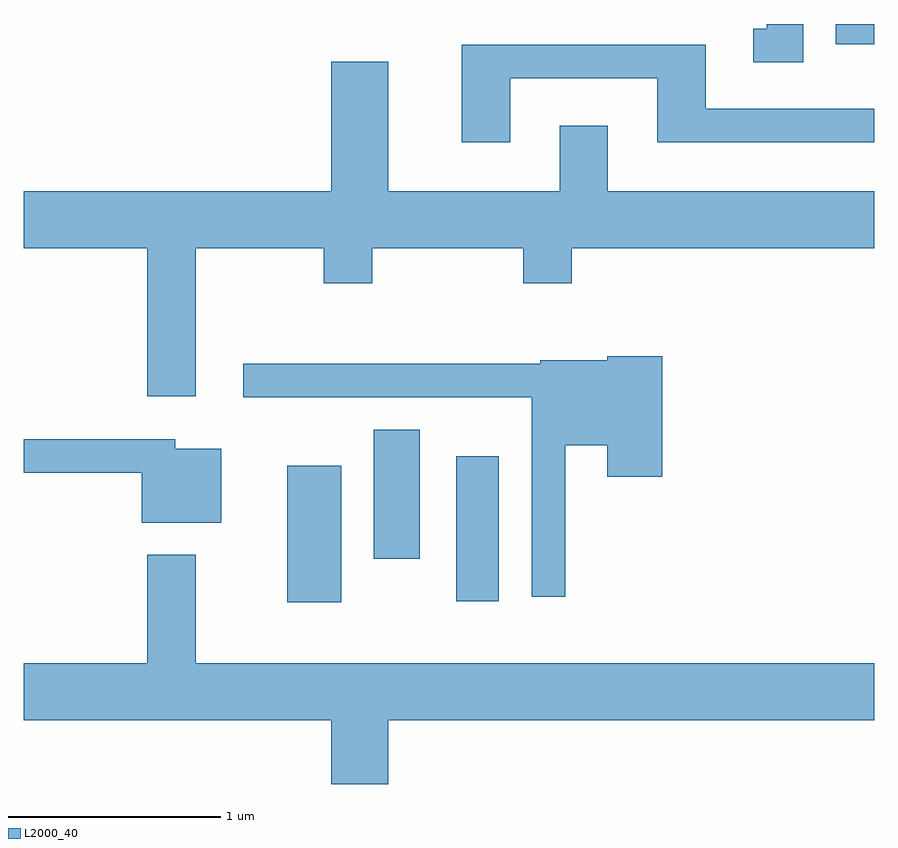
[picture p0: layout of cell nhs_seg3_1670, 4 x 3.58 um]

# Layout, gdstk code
import gdstk
lib = gdstk.Library(unit=1e-6, precision=1e-09)
def R(c, l, rs):  # rectangles x0, y0, x1, y1
    for r in rs: c.add(gdstk.rectangle(r[:2], r[2:], *l))
def P(c, l, *ps):  # polygons
    for p in ps: c.add(gdstk.Polygon(p, *l))
L2000_40 = (2000, 40)

nhs_seg3_1670 = lib.new_cell('nhs_seg3_1670')
R(nhs_seg3_1670, L2000_40, [(234.851,1193.171,235.104,1193.814), (235.646,1193.176,235.844,1193.859), (235.256,1193.376,235.474,1193.984), (237.431,1195.796,237.611,1195.892)])
P(nhs_seg3_1670, L2000_40, [(237.279,1195.892),(237.106,1195.892),(237.106,1195.869),(237.043,1195.869),(237.043,1195.711),(237.279,1195.711)],
  [(235.899,1195.636),(236.591,1195.636),(236.591,1195.336),(237.611,1195.336),(237.611,1195.494),(236.819,1195.494),(236.819,1195.794),(235.671,1195.794),(235.671,1195.336),(235.899,1195.336)],
  [(234.419,1194.836),(235.021,1194.836),(235.021,1194.671),(235.249,1194.671),(235.249,1194.836),(235.961,1194.836),(235.961,1194.671),(236.189,1194.671),(236.189,1194.836),(237.611,1194.836),(237.611,1195.104),(236.359,1195.104),(236.359,1195.414),(236.131,1195.414),(236.131,1195.104),(235.324,1195.104),(235.324,1195.714),(235.056,1195.714),(235.056,1195.104),(233.611,1195.104),(233.611,1194.836),(234.191,1194.836),(234.191,1194.141),(234.419,1194.141)],
  [(236.159,1193.911),(236.356,1193.911),(236.356,1193.761),(236.614,1193.761),(236.614,1194.329),(236.356,1194.329),(236.356,1194.309),(236.04,1194.309),(236.04,1194.294),(234.643,1194.294),(234.643,1194.136),(236.001,1194.136),(236.001,1193.198),(236.159,1193.198)],
  [(234.539,1193.894),(234.324,1193.894),(234.324,1193.939),(233.611,1193.939),(233.611,1193.781),(234.166,1193.781),(234.166,1193.546),(234.539,1193.546)],
  [(235.056,1192.316),(235.324,1192.316),(235.324,1192.616),(237.611,1192.616),(237.611,1192.884),(234.419,1192.884),(234.419,1193.394),(234.191,1193.394),(234.191,1192.884),(233.611,1192.884),(233.611,1192.616),(235.056,1192.616)])

lib.write_gds('nhs_seg3_1670.gds')
